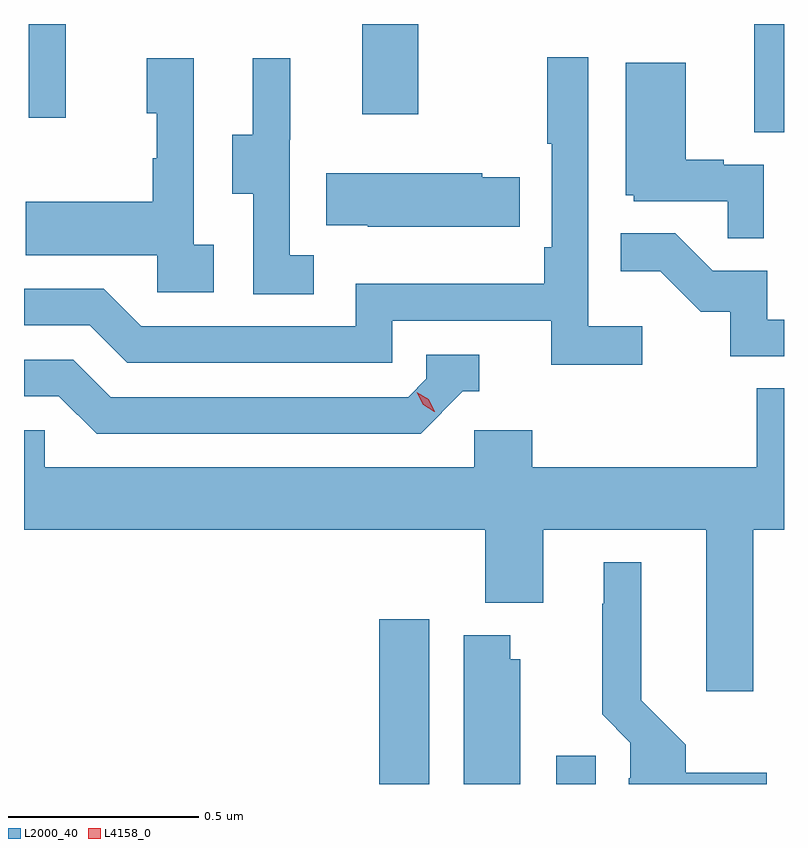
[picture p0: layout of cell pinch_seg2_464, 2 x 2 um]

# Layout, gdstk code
import gdstk
lib = gdstk.Library(unit=1e-6, precision=1e-09)
def R(c, l, rs):  # rectangles x0, y0, x1, y1
    for r in rs: c.add(gdstk.rectangle(r[:2], r[2:], *l))
def P(c, l, *ps):  # polygons
    for p in ps: c.add(gdstk.Polygon(p, *l))
L2000_40 = (2000, 40)
L4158_0 = (4158, 0)

pinch_seg2_464 = lib.new_cell('pinch_seg2_464')
R(pinch_seg2_464, L2000_40, [(951.242,607.007,951.373,607.441), (951.707,607.007,951.811,607.081), (952.229,608.722,952.307,609.007), (950.319,608.76,950.417,609.007), (951.197,608.769,951.345,609.007)])
P(pinch_seg2_464, L2000_40, [(951.934,608.212),(951.792,608.212),(951.792,608.92),(951.684,608.92),(951.684,608.692),(951.696,608.692),(951.696,608.419),(951.676,608.419),(951.676,608.323),(951.18,608.323),(951.18,608.211),(950.616,608.211),(950.517,608.31),(950.307,608.31),(950.307,608.214),(950.48,608.214),(950.579,608.115),(951.276,608.115),(951.276,608.226),(951.695,608.226),(951.695,608.11),(951.934,608.11)],
  [(951.07,608.399),(951.006,608.399),(951.006,608.703),(951.008,608.703),(951.008,608.917),(950.909,608.917),(950.909,608.715),(950.855,608.715),(950.855,608.56),(950.91,608.56),(950.91,608.296),(951.07,608.296)],
  [(950.806,608.426),(950.754,608.426),(950.754,608.917),(950.63,608.917),(950.63,608.772),(950.656,608.772),(950.656,608.654),(950.646,608.654),(950.646,608.539),(950.311,608.539),(950.311,608.399),(950.658,608.399),(950.658,608.301),(950.806,608.301)],
  [(952.254,608.637),(952.148,608.637),(952.148,608.65),(952.048,608.65),(952.048,608.905),(951.89,608.905),(951.89,608.556),(951.912,608.556),(951.912,608.541),(952.159,608.541),(952.159,608.443),(952.254,608.443)],
  [(951.611,608.604),(951.513,608.604),(951.513,608.614),(951.103,608.614),(951.103,608.477),(951.211,608.477),(951.211,608.474),(951.611,608.474)],
  [(952.307,608.229),(952.263,608.229),(952.263,608.358),(952.119,608.358),(952.021,608.456),(951.877,608.456),(951.877,608.357),(951.981,608.357),(952.088,608.25),(952.165,608.25),(952.165,608.133),(952.307,608.133)],
  [(951.462,608.04),(951.505,608.04),(951.505,608.136),(951.366,608.136),(951.366,608.073),(951.318,608.025),(950.535,608.025),(950.436,608.124),(950.307,608.124),(950.307,608.028),(950.399,608.028),(950.498,607.929),(951.351,607.929)],
  [(952.226,607.676),(952.307,607.676),(952.307,608.048),(952.235,608.048),(952.235,607.84),(951.644,607.84),(951.644,607.938),(951.492,607.938),(951.492,607.84),(950.361,607.84),(950.361,607.938),(950.307,607.938),(950.307,607.676),(951.521,607.676),(951.521,607.484),(951.673,607.484),(951.673,607.676),(952.103,607.676),(952.103,607.251),(952.226,607.251)],
  [(952.261,607.036),(952.049,607.036),(952.049,607.11),(951.931,607.228),(951.931,607.591),(951.833,607.591),(951.833,607.481),(951.829,607.481),(951.829,607.19),(951.903,607.116),(951.903,607.022),(951.899,607.022),(951.899,607.007),(952.261,607.007)],
  [(951.613,607.335),(951.586,607.335),(951.586,607.399),(951.464,607.399),(951.464,607.007),(951.613,607.007)])
P(pinch_seg2_464, L4158_0, [(951.387,607.986),(951.357,608.005),(951.341,608.038),(951.341,608.038),(951.341,608.038),(951.372,608.019),(951.388,607.986),(951.388,607.986)])

lib.write_gds('pinch_seg2_464.gds')
